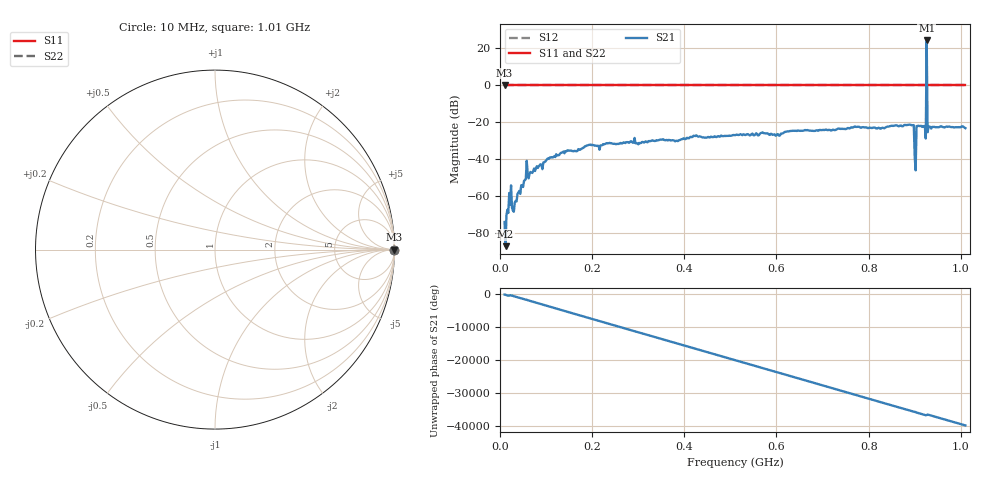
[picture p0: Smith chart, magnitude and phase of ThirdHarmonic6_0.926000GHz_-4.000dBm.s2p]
! 8/16/2025 6:12:33 AM
! C:\ANRITSUVNA\TEMP\TEMP.S2P
! CHANNEL.1
! TR.MEASUREMENT
! RAW.DATA
! RF.CORRECTION.OFF
! AVERAGING.OFF
! IF.BANDWIDTH: 5KHZ
! SWEEPTYPE:  FREQ.SWEEP(Linear)
! Reference Plane Port Info
! PORT:  PORT1  PORT2
! DISTANCE:  0  m  0  m
! TIME:  0  s  0  s
! PHASE.OFFSET:  0  deg.  0  deg.
! LOSS:  0  dB  0  dB
! REF.LOSS:  0  dB  0  dB
! REF.FREQ:  0  Hz  0  Hz
! Power Info
! POWER:  -20  dBm  -20  dBm
! EFF.POWER:  -20  dBm  -20  dBm
! SOURCE.ATTEN:  0  dB  0  dB
! TEST.ATTEN:  0  dB  0  dB
# GHZ S RI R 50.0
! FREQ.GHZ  S11RE  S11IM  S21RE  S21IM  S12RE  S12IM  S22RE  S22IM
!; PortSelection: Port_12
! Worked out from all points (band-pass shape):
!   501 points, 10 MHz to 1.01 GHz, reference 50 ohm
!   highest |S21| = 23.98 dB at 926 MHz (marker M1); lowest = -87.0 dB at 12 MHz (marker M2)
!   |S21| within 3 dB of the highest: 925.8866 MHz to 926.1212 MHz (234.6 kHz wide, 0.0253 % of centre)
!   lowest |S11| = 0.0 dB at 10 MHz (marker M3)
!   |S11| at or under -10 dB: nowhere
!   |S22| runs from 0.0 to 0.0 dB; largest |S21 - S12| = 16
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0.01  1 0  -0.000173 -9.99e-05  1 0  1 0
0.012  1 0  -4.12e-05 1.7e-05  1 0  1 0
0.02  1 0  -0.00024 -0.00119  1 0  1 0
0.032  1 0  0.000649 -0.000168  1 0  1 0
0.056  1 0  -0.000591 0.0028  1 0  1 0
0.062  1 0  -0.00233 -0.0019  1 0  1 0
0.134  1 0  -0.0147 0.00254  1 0  1 0
0.178  1 0  -0.0185 -0.00492  1 0  1 0
0.344  1 0  0.0317 -0.00458  1 0  1 0
0.51  1 0  -0.0428 0.0102  1 0  1 0
0.678  1 0  -0.0162 -0.0553  1 0  1 0
0.844  1 0  0.042 0.063  1 0  1 0
0.894  1 0  -0.0792 -0.0193  1 0  1 0
0.898  1 0  0.0694 0.044  1 0  1 0
0.904  1 0  -0.0655 0.0408  1 0  1 0
0.908  1 0  0.0773 -0.0151  1 0  1 0
0.92  1 0  -0.0518 -0.0536  1 0  1 0
0.922  1 0  -0.0648 0.0435  1 0  1 0
0.926  1 0  -2.185 15.66  1 0  1 0
0.93  1 0  -0.075 -0.00133  1 0  1 0
0.932  1 0  -0.0135 0.074  1 0  1 0
1.01  1 0  -0.0635 -0.0246  1 0  1 0
